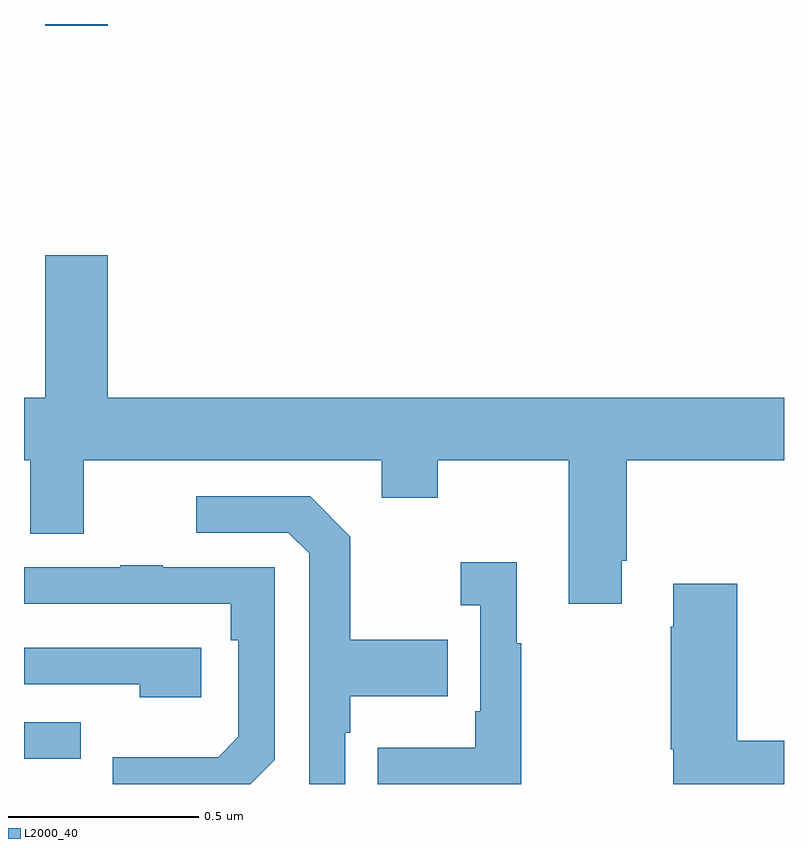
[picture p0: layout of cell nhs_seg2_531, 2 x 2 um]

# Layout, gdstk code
import gdstk
lib = gdstk.Library(unit=1e-6, precision=1e-09)
def R(c, l, rs):  # rectangles x0, y0, x1, y1
    for r in rs: c.add(gdstk.rectangle(r[:2], r[2:], *l))
def P(c, l, *ps):  # polygons
    for p in ps: c.add(gdstk.Polygon(p, *l))
L2000_40 = (2000, 40)

nhs_seg2_531 = lib.new_cell('nhs_seg2_531')
R(nhs_seg2_531, L2000_40, [(117,630.867,117.149,630.963), (117.056,632.796,117.22,632.8)])
P(nhs_seg2_531, L2000_40, [(118.573,631.387),(118.586,631.387),(118.586,631.652),(119,631.652),(119,631.816),(117.22,631.816),(117.22,632.191),(117.056,632.191),(117.056,631.816),(117,631.816),(117,631.652),(117.017,631.652),(117.017,631.458),(117.157,631.458),(117.157,631.652),(117.941,631.652),(117.941,631.553),(118.089,631.553),(118.089,631.652),(118.433,631.652),(118.433,631.275),(118.573,631.275)],
  [(117.846,630.935),(117.859,630.935),(117.859,631.031),(118.115,631.031),(118.115,631.179),(117.859,631.179),(117.859,631.451),(117.753,631.557),(117.453,631.557),(117.453,631.461),(117.696,631.461),(117.75,631.407),(117.75,630.8),(117.846,630.8)],
  [(118.309,631.171),(118.297,631.171),(118.297,631.384),(118.149,631.384),(118.149,631.271),(118.2,631.271),(118.2,630.991),(118.188,630.991),(118.188,630.895),(117.931,630.895),(117.931,630.8),(118.309,630.8)],
  [(117.66,630.864),(117.66,631.371),(117.365,631.371),(117.365,631.376),(117.253,631.376),(117.253,631.371),(117,631.371),(117,631.275),(117.544,631.275),(117.544,631.178),(117.564,631.178),(117.564,630.924),(117.511,630.871),(117.234,630.871),(117.234,630.8),(117.596,630.8)],
  [(119,630.914),(118.877,630.914),(118.877,631.327),(118.709,631.327),(118.709,631.214),(118.702,631.214),(118.702,630.891),(118.709,630.891),(118.709,630.8),(119,630.8)],
  [(117.466,631.158),(117,631.158),(117,631.062),(117.305,631.062),(117.305,631.028),(117.466,631.028)])

lib.write_gds('nhs_seg2_531.gds')
